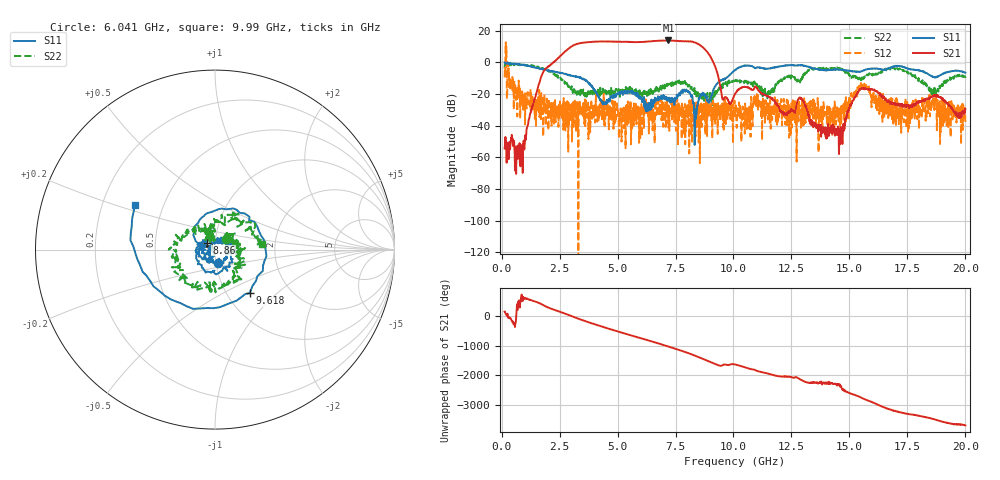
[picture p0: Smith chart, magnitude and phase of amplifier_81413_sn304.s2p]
!Created with skrf (http://scikit-rf.org).
# GHz S RI R 50.0
!freq ReS11 ImS11 ReS21 ImS21 ReS12 ImS12 ReS22 ImS22
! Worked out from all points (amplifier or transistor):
!   1601 points, 130 MHz to 20 GHz, reference 50 ohm
!   highest |S21| = 13.8 dB at 7.196 GHz (marker M1)
!   |S21| within 3 dB of that: 3.117 GHz to 8.559 GHz (5.442 GHz wide, 93.2 % of centre)
!   unconditionally stable (mu >= 1): start of sweep to end of sweep
!   at 3.433 GHz: K = 5.21, MAG = 12.8 dB, |S12| = -33.7 dB
!   at 10.06 GHz: K = 167.87, MAG = -17.9 dB, |S12| = -34.6 dB
!   at 20 GHz: K = 894.97, MAG = -27.8 dB, |S12| = -38.8 dB
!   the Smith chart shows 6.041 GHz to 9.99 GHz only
!   S11 on the Smith chart (normalised r, x): 6.041 GHz: 1.02, -0.15; 8.86 GHz: 0.91, +0.07; 9.618 GHz: 1.27, -0.68; 9.99 GHz: 0.34, +0.23
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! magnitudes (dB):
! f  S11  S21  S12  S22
! 130 MHz  -0.1  -54.5  -9.5  -3.9
! 887.5 MHz  -1.7  -58.3  -18.4  -1.6
! 1.794 GHz  -4.4  -6.2  -46.9  -4.2
! 3.446 GHz  -9.9  12.3  -29.4  -19.3
! 4.414 GHz  -26.2  13.2  -22.6  -18.1
! 6.041 GHz  -22.5  12.8  -35.7  -21.5
! 6.762 GHz  -22.7  13.6  -27.3  -17.8
! 7.196 GHz  -23.8  13.8  -41.2  -13.7
! 8.364 GHz  -35.7  12.4  -46.8  -20.7
! 8.86 GHz  -24.3  6.7  -46.6  -22.1
! 9.618 GHz  -10.2  -22.3  -22.2  -12.8
! 9.99 GHz  -5.8  -22.5  -33.5  -11.6
! 10.06 GHz  -4.9  -19.9  -34.6  -11.5
! 11.47 GHz  -4.0  -21.3  -28.7  -22.3
! 12.23 GHz  -2.0  -32.8  -33.8  -10.2
! 12.9 GHz  -2.0  -22.4  -35.6  -11.4
! 13.38 GHz  -3.5  -37.5  -25.3  -3.9
! 14.62 GHz  -4.8  -50.5  -30.6  -4.6
! 15.48 GHz  -5.8  -16.9  -16.8  -10.5
! 16.7 GHz  -3.9  -24.7  -28.9  -3.9
! 18.57 GHz  -9.0  -21.6  -26.3  -20.1
! 20 GHz  -6.5  -29.4  -38.8  -9.8
